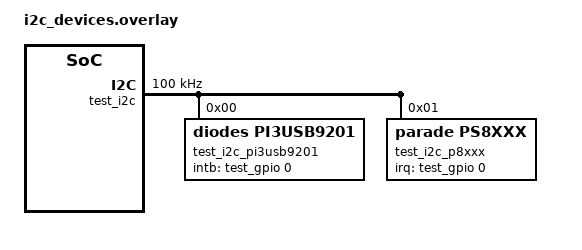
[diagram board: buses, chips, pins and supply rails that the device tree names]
/*
 * Copyright (c) 2024 TOKITA Hiroshi
 * SPDX-License-Identifier: Apache-2.0
 */

/ {
	test {
		#address-cells = <1>;
		#size-cells = <1>;

		test_gpio: gpio@deadbeef {
			compatible = "vnd,gpio";
			gpio-controller;
			reg = <0xdeadbeef 0x1000>;
			#gpio-cells = <0x2>;
			status = "okay";
		};

		test_i2c: i2c@11112222 {
			#address-cells = <1>;
			#size-cells = <0>;
			compatible = "vnd,i2c";
			reg = <0x11112222 0x1000>;
			status = "okay";
			clock-frequency = <100000>;

			test_i2c_pi3usb9201: pi3usb9201@0 {
				compatible = "diodes,pi3usb9201";
				reg = <0x0>;
				charging-mode = "BC12_TYPE_NONE";
				intb-gpios = <&test_gpio 0 0>;
			};

			test_i2c_p8xxx: p8xxx@1 {
				compatible = "parade,ps8xxx";
				reg = <1>;
				irq-gpios = <&test_gpio 0 0>;
			};
		};
	};
};
